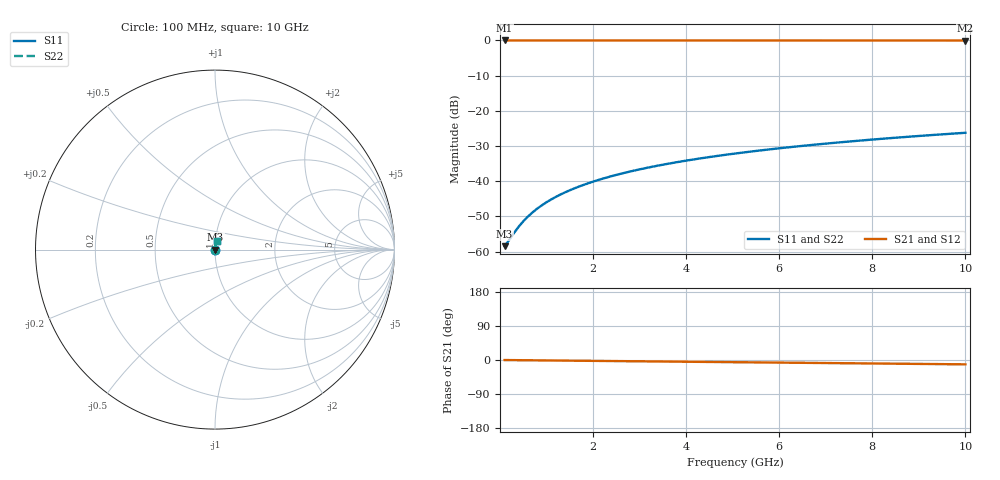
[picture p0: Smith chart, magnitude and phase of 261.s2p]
# Hz S RI R 50.00
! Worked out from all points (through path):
!   100 points, 100 MHz to 10 GHz, reference 50 ohm
!   highest |S21| = -0.01 dB at 100 MHz (marker M1); lowest = 0.0 dB at 10 GHz (marker M2)
!   group delay of S21, straight-line fit = 3.19 ps
!   lowest |S11| = -58.5 dB at 100 MHz (marker M3), VSWR 1.00, Z = 50.1 + j0.0489 ohm
!   |S11| at or under -10 dB: start of sweep to end of sweep
!   |S22| runs from -58.5 to -26.2 dB; largest |S21 - S12| = 0
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1e8  0.00109 0.000488  0.9989 -0.00199  0.9989 -0.00199  0.00109 0.000488
2e8  0.0011 0.000975  0.9989 -0.00398  0.9989 -0.00398  0.0011 0.000975
3e8  0.00111 0.00146  0.9989 -0.00597  0.9989 -0.00597  0.00111 0.00146
4e8  0.00112 0.00195  0.9989 -0.00796  0.9989 -0.00796  0.00112 0.00195
5e8  0.00113 0.00244  0.9988 -0.00996  0.9988 -0.00996  0.00113 0.00244
6e8  0.00114 0.00292  0.9988 -0.0119  0.9988 -0.0119  0.00114 0.00292
7e8  0.00116 0.00341  0.9988 -0.0139  0.9988 -0.0139  0.00116 0.00341
8e8  0.00118 0.0039  0.9987 -0.0159  0.9987 -0.0159  0.00118 0.0039
1e9  0.00121 0.00487  0.9987 -0.0199  0.9987 -0.0199  0.00121 0.00487
1.2e9  0.00126 0.00585  0.9986 -0.0239  0.9986 -0.0239  0.00126 0.00585
1.5e9  0.00134 0.00731  0.9984 -0.0299  0.9984 -0.0299  0.00134 0.00731
1.8e9  0.00144 0.00876  0.9982 -0.0358  0.9982 -0.0358  0.00144 0.00876
2.1e9  0.00156 0.0102  0.9979 -0.0418  0.9979 -0.0418  0.00156 0.0102
2.5e9  0.00174 0.0122  0.9975 -0.0498  0.9975 -0.0498  0.00174 0.0122
2.9e9  0.00196 0.0141  0.9971 -0.0577  0.9971 -0.0577  0.00196 0.0141
3.4e9  0.00226 0.0165  0.9964 -0.0677  0.9964 -0.0677  0.00226 0.0165
4.2e9  0.00286 0.0204  0.9951 -0.0836  0.9951 -0.0836  0.00286 0.0204
5.1e9  0.00368 0.0247  0.9933 -0.1015  0.9933 -0.1015  0.00368 0.0247
5.9e9  0.00453 0.0285  0.9914 -0.1174  0.9914 -0.1174  0.00453 0.0285
6.7e9  0.00551 0.0323  0.9893 -0.1332  0.9893 -0.1332  0.00551 0.0323
8.4e9  0.00799 0.0402  0.9838 -0.1668  0.9838 -0.1668  0.00799 0.0402
1e10  0.0108 0.0475  0.9776 -0.1983  0.9776 -0.1983  0.0108 0.0475
